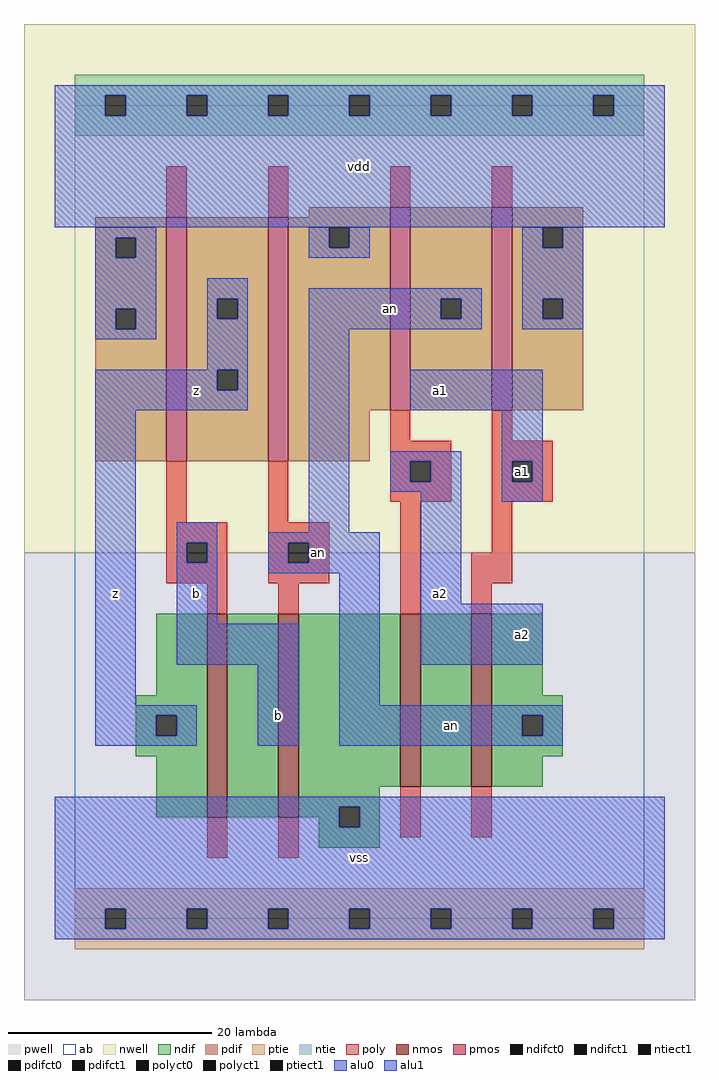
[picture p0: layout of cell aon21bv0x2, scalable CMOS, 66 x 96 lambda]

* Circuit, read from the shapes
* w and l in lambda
.subckt aon21bv0x2 a1 a2 an b vdd vss z
M1 n1 b z vss nfet w=20 l=2
M2 vss an n1 vss nfet w=20 l=2
M3 n2 a2 vss vss nfet w=17 l=2
M4 an a1 n2 vss nfet w=17 l=2
M5 z b vdd vdd pfet w=24 l=2
M6 vdd an z vdd pfet w=24 l=2
M7 an a2 vdd vdd pfet w=20 l=2
M8 vdd a1 an vdd pfet w=20 l=2
.ends

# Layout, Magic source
magic
tech scmos
<< ab >>
rect 0 0 56 80
<< nwell >>
rect -5 36 61 88
<< pwell >>
rect -5 -8 61 36
<< poly >>
rect 9 69 11 74
rect 19 69 21 74
rect 31 70 33 74
rect 41 70 43 74
rect 31 47 33 50
rect 41 47 43 50
rect 31 45 37 47
rect 9 39 11 45
rect 19 39 21 45
rect 31 43 33 45
rect 35 43 37 45
rect 31 41 37 43
rect 41 45 47 47
rect 41 43 43 45
rect 45 43 47 45
rect 41 41 47 43
rect 9 37 15 39
rect 9 35 11 37
rect 13 35 15 37
rect 9 33 15 35
rect 19 37 25 39
rect 19 35 21 37
rect 23 35 25 37
rect 19 33 25 35
rect 13 30 15 33
rect 20 30 22 33
rect 32 30 34 41
rect 41 36 43 41
rect 39 33 43 36
rect 39 30 41 33
rect 13 6 15 10
rect 20 6 22 10
rect 32 8 34 13
rect 39 8 41 13
<< ndif >>
rect 8 22 13 30
rect 6 20 13 22
rect 6 18 8 20
rect 10 18 13 20
rect 6 16 13 18
rect 8 10 13 16
rect 15 10 20 30
rect 22 13 32 30
rect 34 13 39 30
rect 41 22 46 30
rect 41 20 48 22
rect 41 18 44 20
rect 46 18 48 20
rect 41 16 48 18
rect 41 13 46 16
rect 22 11 30 13
rect 22 10 26 11
rect 24 9 26 10
rect 28 9 30 11
rect 24 7 30 9
<< pdif >>
rect 23 69 31 70
rect 2 67 9 69
rect 2 65 4 67
rect 6 65 9 67
rect 2 60 9 65
rect 2 58 4 60
rect 6 58 9 60
rect 2 45 9 58
rect 11 61 19 69
rect 11 59 14 61
rect 16 59 19 61
rect 11 54 19 59
rect 11 52 14 54
rect 16 52 19 54
rect 11 45 19 52
rect 21 68 31 69
rect 21 66 25 68
rect 27 66 31 68
rect 21 50 31 66
rect 33 61 41 70
rect 33 59 36 61
rect 38 59 41 61
rect 33 50 41 59
rect 43 68 50 70
rect 43 66 46 68
rect 48 66 50 68
rect 43 61 50 66
rect 43 59 46 61
rect 48 59 50 61
rect 43 50 50 59
rect 21 45 29 50
<< alu1 >>
rect -2 81 58 82
rect -2 79 3 81
rect 5 79 11 81
rect 13 79 19 81
rect 21 79 27 81
rect 29 79 35 81
rect 37 79 43 81
rect 45 79 51 81
rect 53 79 58 81
rect -2 68 58 79
rect 13 61 17 63
rect 13 59 14 61
rect 16 59 17 61
rect 13 54 17 59
rect 2 52 14 54
rect 16 52 17 54
rect 2 50 17 52
rect 2 21 6 50
rect 10 37 14 39
rect 33 50 46 54
rect 31 45 38 46
rect 31 43 33 45
rect 35 43 38 45
rect 31 42 38 43
rect 10 35 11 37
rect 13 35 14 37
rect 10 29 14 35
rect 10 25 22 29
rect 2 20 12 21
rect 2 18 8 20
rect 10 18 12 20
rect 2 17 12 18
rect 18 17 22 25
rect 34 31 38 42
rect 42 45 46 50
rect 42 43 43 45
rect 45 43 46 45
rect 42 41 46 43
rect 34 25 46 31
rect -2 11 58 12
rect -2 9 26 11
rect 28 9 58 11
rect -2 1 58 9
rect -2 -1 3 1
rect 5 -1 11 1
rect 13 -1 19 1
rect 21 -1 27 1
rect 29 -1 35 1
rect 37 -1 43 1
rect 45 -1 51 1
rect 53 -1 58 1
rect -2 -2 58 -1
<< ptie >>
rect 0 1 56 3
rect 0 -1 3 1
rect 5 -1 11 1
rect 13 -1 19 1
rect 21 -1 27 1
rect 29 -1 35 1
rect 37 -1 43 1
rect 45 -1 51 1
rect 53 -1 56 1
rect 0 -3 56 -1
<< ntie >>
rect 0 81 56 83
rect 0 79 3 81
rect 5 79 11 81
rect 13 79 19 81
rect 21 79 27 81
rect 29 79 35 81
rect 37 79 43 81
rect 45 79 51 81
rect 53 79 56 81
rect 0 77 56 79
<< nmos >>
rect 13 10 15 30
rect 20 10 22 30
rect 32 13 34 30
rect 39 13 41 30
<< pmos >>
rect 9 45 11 69
rect 19 45 21 69
rect 31 50 33 70
rect 41 50 43 70
<< polyct0 >>
rect 21 35 23 37
<< polyct1 >>
rect 33 43 35 45
rect 43 43 45 45
rect 11 35 13 37
<< ndifct0 >>
rect 44 18 46 20
<< ndifct1 >>
rect 8 18 10 20
rect 26 9 28 11
<< ntiect1 >>
rect 3 79 5 81
rect 11 79 13 81
rect 19 79 21 81
rect 27 79 29 81
rect 35 79 37 81
rect 43 79 45 81
rect 51 79 53 81
<< ptiect1 >>
rect 3 -1 5 1
rect 11 -1 13 1
rect 19 -1 21 1
rect 27 -1 29 1
rect 35 -1 37 1
rect 43 -1 45 1
rect 51 -1 53 1
<< pdifct0 >>
rect 4 65 6 67
rect 4 58 6 60
rect 25 66 27 68
rect 36 59 38 61
rect 46 66 48 68
rect 46 59 48 61
<< pdifct1 >>
rect 14 59 16 61
rect 14 52 16 54
<< alu0 >>
rect 2 67 8 68
rect 2 65 4 67
rect 6 65 8 67
rect 23 66 25 68
rect 27 66 29 68
rect 23 65 29 66
rect 44 66 46 68
rect 48 66 50 68
rect 2 60 8 65
rect 2 58 4 60
rect 6 58 8 60
rect 2 57 8 58
rect 23 61 40 62
rect 23 59 36 61
rect 38 59 40 61
rect 23 58 40 59
rect 44 61 50 66
rect 44 59 46 61
rect 48 59 50 61
rect 44 58 50 59
rect 23 38 27 58
rect 19 37 30 38
rect 19 35 21 37
rect 23 35 30 37
rect 19 34 30 35
rect 26 21 30 34
rect 26 20 48 21
rect 26 18 44 20
rect 46 18 48 20
rect 26 17 48 18
<< labels >>
rlabel alu0 24 36 24 36 6 an
rlabel alu0 31 60 31 60 6 an
rlabel alu0 37 19 37 19 6 an
rlabel alu1 4 32 4 32 6 z
rlabel alu1 20 20 20 20 6 b
rlabel alu1 12 32 12 32 6 b
rlabel alu1 12 52 12 52 6 z
rlabel alu1 28 6 28 6 6 vss
rlabel alu1 36 32 36 32 6 a2
rlabel alu1 36 52 36 52 6 a1
rlabel alu1 28 74 28 74 6 vdd
rlabel alu1 44 28 44 28 6 a2
rlabel polyct1 44 44 44 44 6 a1
<< end >>
